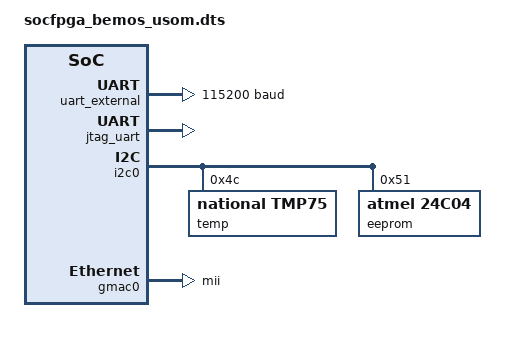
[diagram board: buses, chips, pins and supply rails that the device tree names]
/include/ "socfpga_cyclone5.dts"

/ {
	soc {
		analogboard_0: bemos@ff240000 {
			compatible = "bstsns,analogboard-2.3.7", "bstsns,analogboard";
			reg = <0xFF240000 0x00000400>,
				<0xC0020000 0x00000008>,
				<0xFF280000 0x00000040>,
				<0xFF240400 0x00000040>,
				<0xC0070000 0x00000008>,
				<0xC0090000 0x00000008>,
				<0xC00A0000 0x00000008>,
				<0xC00B0000 0x00000008>,
				<0xFF221000 0x00000020>,
				<0xFF271000 0x00000020>,
				<0xFF291000 0x00000020>,
				<0xFF2A1000 0x00000020>,
				<0xFF2B1000 0x00000020>,
				<0xFF210010 0x00000008>,
				<0xFF240500 0x00000008>,
				<0xFF240600 0x00000008>,
				<0xFF201000 0x00000008>;
			reg-names = "ab", "fifo", "temp", "i2c", "ks", "int", "rt1", "rt2", "fifo_csr", "ks_csr", "int_csr", "rt1_csr", "rt2_csr", "board_temp", "cl0", "cl1", "version";
			interrupts = <0 45 4>, <0 42 4>, <0 46 4>, <0 47 4>, <0 48 4>, <0 40 4>, <0 41 4>;
		}; //end bemos@ff240000 (analogboard_0)
		
		uart_external: serial@ff290000 {
			compatible = "ALTR,uart-1.0", "altr,uart-1.0";
			reg = <0xff290000 0x20>;
			interrupt-parent = <&intc>;
			interrupts = <0 55 4>;
			current-speed = <115200>;
			clock-frequency = <50000000>;
		};
		
		jtag_uart: serial@ff200008 {
			compatible = "ALTR,juart-13.1", "ALTR,juart-1.0", "altr,juart-1.0";
			reg = <0xff200008 0x8>;
			interrupt-parent = <&intc>;
			interrupts = <0 40 4>;
		};
	};
};

&i2c0 {
	i2c-sda-falling-time-ns = <10000>;
	i2c-scl-falling-time-ns = <10000>;

	temp@48 {
		compatible = "national,tmp75";
		reg = <0x4C>;
	};

	eeprom@51 {
		compatible = "atmel,24c04";
		reg = <0x51>;
		pagesize = <16>;
	};
	
	lcd: lcd@28 {
		status = "disabled";
	};
};

&gmac0 {
	phy-mode = "mii";
	snps,phy-addr = <0x00>;
	rxd0-skew-ps = <0>;
	rxd1-skew-ps = <0>;
	rxd2-skew-ps = <0>;
	rxd3-skew-ps = <0>;
	txen-skew-ps = <0>;
	txc-skew-ps = <2600>;
	rxdv-skew-ps = <0>;
	rxc-skew-ps = <2000>;
	max-frame-size = <3800>;
	status = "okay";
};

&gmac1 {
	status = "disabled";
};
